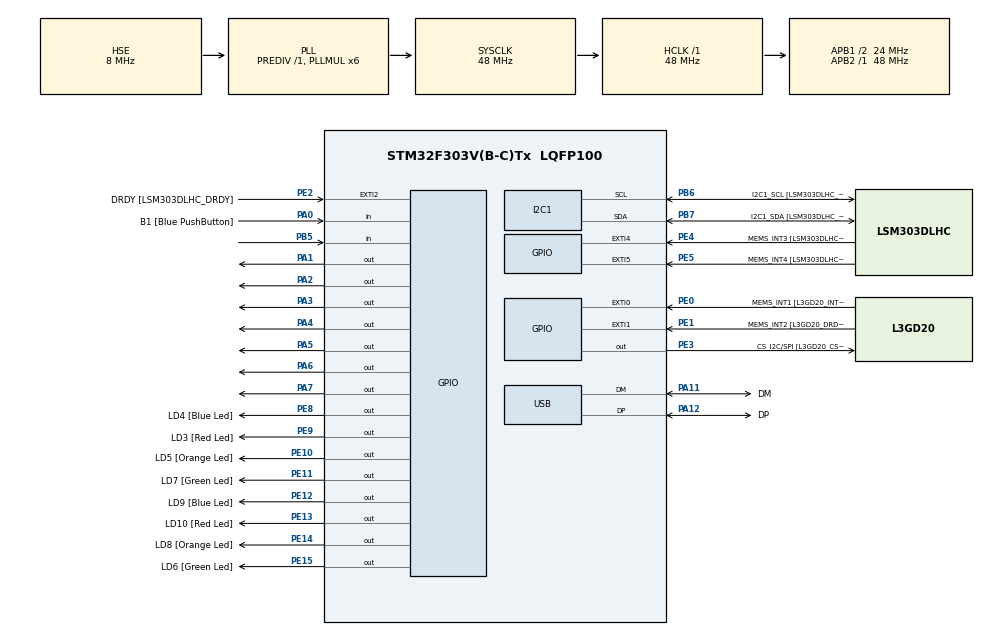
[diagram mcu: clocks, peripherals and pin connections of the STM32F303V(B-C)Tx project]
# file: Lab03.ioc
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I2C1.Timing=0x00201D2B
I2C1.Timing-I2C=0x2000090E
Mcu.Family=STM32F3
Mcu.Name=STM32F303V(B-C)Tx
Mcu.Package=LQFP100
NVIC.PriorityGroup=NVIC_PRIORITYGROUP_0
PA0.GPIO_Label=B1 [Blue PushButton]
PA0.Signal=GPIO_Input
PA1.Signal=GPIO_Output
PA11.GPIO_Label=DM
PA11.Mode=Device
PA11.Signal=USB_DM
PA12.GPIO_Label=DP
PA12.Mode=Device
PA12.Signal=USB_DP
PA13.GPIO_Label=SWDIO
PA13.Mode=Serial_Wire
PA13.Signal=SYS_JTMS-SWDIO
PA14.GPIO_Label=SWCLK
PA14.Mode=Serial_Wire
PA14.Signal=SYS_JTCK-SWCLK
PA2.Signal=GPIO_Output
PA3.Signal=GPIO_Output
PA4.Signal=GPIO_Output
PA5.Signal=GPIO_Output
PA6.Signal=GPIO_Output
PA7.Signal=GPIO_Output
PB3.GPIO_Label=SWO
PB3.Signal=SYS_JTDO-TRACESWO
PB5.Signal=GPIO_Input
PB6.GPIO_Label=I2C1_SCL [LSM303DLHC_SCL]
PB6.GPIO_Pu=GPIO_PULLUP
PB6.Mode=I2C
PB6.Signal=I2C1_SCL
PB7.GPIO_Label=I2C1_SDA [LSM303DLHC_SDA]
PB7.GPIO_Pu=GPIO_PULLUP
PB7.Mode=I2C
PB7.Signal=I2C1_SDA
PC14-OSC32_IN.GPIO_Label=OSC32_IN
PC14-OSC32_IN.Signal=RCC_OSC32_IN
PC15-OSC32_OUT.GPIO_Label=OSC32_OUT
PC15-OSC32_OUT.Signal=RCC_OSC32_OUT
PE0.GPIO_Label=MEMS_INT1 [L3GD20_INT1]
PE0.GPIO_ModeDefaultEXTI=GPIO_MODE_EVT_RISING
PE0.Signal=GPXTI0
PE1.GPIO_Label=MEMS_INT2 [L3GD20_DRDY/INT2]
PE1.GPIO_ModeDefaultEXTI=GPIO_MODE_EVT_RISING
PE1.Signal=GPXTI1
PE10.GPIO_Label=LD5 [Orange Led]
PE10.Signal=GPIO_Output
PE11.GPIO_Label=LD7 [Green Led]
PE11.Signal=GPIO_Output
PE12.GPIO_Label=LD9 [Blue Led]
PE12.Signal=GPIO_Output
PE13.GPIO_Label=LD10 [Red Led]
PE13.Signal=GPIO_Output
PE14.GPIO_Label=LD8 [Orange Led]
PE14.Signal=GPIO_Output
PE15.GPIO_Label=LD6 [Green Led]
PE15.Signal=GPIO_Output
PE2.GPIO_Label=DRDY [LSM303DLHC_DRDY]
PE2.GPIO_ModeDefaultEXTI=GPIO_MODE_EVT_RISING
PE2.Signal=GPXTI2
PE3.GPIO_Label=CS_I2C/SPI [L3GD20_CS_I2C/SPI]
PE3.Signal=GPIO_Output
PE4.GPIO_Label=MEMS_INT3 [LSM303DLHC_INT1]
PE4.GPIO_ModeDefaultEXTI=GPIO_MODE_EVT_RISING
PE4.Signal=GPXTI4
PE5.GPIO_Label=MEMS_INT4 [LSM303DLHC_INT2]
PE5.GPIO_ModeDefaultEXTI=GPIO_MODE_EVT_RISING
PE5.Signal=GPXTI5
PE8.GPIO_Label=LD4 [Blue Led]
PE8.Signal=GPIO_Output
PE9.GPIO_Label=LD3 [Red Led]
PE9.Signal=GPIO_Output
PF0-OSC_IN.GPIO_Label=OSC_IN
PF0-OSC_IN.Mode=HSE-External-Clock-Source
PF0-OSC_IN.Signal=RCC_OSC_IN
PF1-OSC_OUT.GPIO_Label=OSC_OUT
PF1-OSC_OUT.Signal=RCC_OSC_OUT
ProjectManager.HeapSize=0x200
ProjectManager.StackSize=0x400
ProjectManager.TargetToolchain=CMake
RCC.AHBFreq_Value=48000000
RCC.APB1CLKDivider=RCC_HCLK_DIV2
RCC.APB1Freq_Value=24000000
RCC.APB1TimFreq_Value=48000000
RCC.APB2Freq_Value=48000000
RCC.APB2TimFreq_Value=48000000
RCC.CortexFreq_Value=48000000
RCC.HCLKFreq_Value=48000000
RCC.HSE_VALUE=8000000
RCC.HSI_VALUE=8000000
RCC.LSE_VALUE=32768
RCC.PLLMUL=RCC_PLL_MUL6
RCC.SYSCLKFreq_VALUE=48000000
RCC.SYSCLKSourceVirtual=RCC_SYSCLKSOURCE_PLLCLK
RCC.USBFreq_Value=48000000
board=STM32F3DISCOVERY

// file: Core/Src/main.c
/* USER CODE BEGIN Header */
/**
  ******************************************************************************
  * @file           : main.c
  * @brief          : Main program body
  ******************************************************************************
  * @attention
  *
  * Copyright (c) 2026 STMicroelectronics.
  * All rights reserved.
  *
  * This software is licensed under terms that can be found in the LICENSE file
  * in the root directory of this software component.
  * If no LICENSE file comes with this software, it is provided AS-IS.
  *
  ******************************************************************************
  */
/* USER CODE END Header */
#include "main.h"

/* USER CODE BEGIN Includes */
//task4
#include <stdlib.h>
/* USER CODE END Includes */

I2C_HandleTypeDef hi2c1;

PCD_HandleTypeDef hpcd_USB_FS;

/* USER CODE BEGIN PV */
//task4
// GPIO_PinState prev_pa0 = GPIO_PIN_RESET;
// uint8_t value = 0;
/* USER CODE END PV */

void SystemClock_Config(void);
static void MX_GPIO_Init(void);
static void MX_I2C1_Init(void);
static void MX_USB_PCD_Init(void);

/* USER CODE BEGIN 0 */
void display_number(uint8_t num) {
      // 1 means segment is ON (requires 0V/GND), 0 means segment is OFF (requires VCC)
      uint8_t segment[16][7] = {
          {1, 1, 1, 1, 1, 1, 0}, // 0
          {0, 1, 1, 0, 0, 0, 0}, // 1
          {1, 1, 0, 1, 1, 0, 1}, // 2
          {1, 1, 1, 1, 0, 0, 1}, // 3
          {0, 1, 1, 0, 0, 1, 1}, // 4
          {1, 0, 1, 1, 0, 1, 1}, // 5
          {1, 0, 1, 1, 1, 1, 1}, // 6
          {1, 1, 1, 0, 0, 0, 0}, // 7
          {1, 1, 1, 1, 1, 1, 1}, // 8
          {1, 1, 1, 1, 0, 1, 1}, // 9
          {1, 1, 1, 0, 1, 1, 1}, // A
          {0, 0, 1, 1, 1, 1, 1}, // b
          {1, 0, 0, 1, 1, 1, 0}, // C
          {0, 1, 1, 1, 1, 0, 1}, // d
          {1, 0, 0, 1, 1, 1, 1}, // E
          {1, 0, 0, 0, 1, 1, 1}  // F
      };

    // Common Anode Logic: Set to RESET to turn ON, SET to turn OFF
    HAL_GPIO_WritePin(GPIOA, GPIO_PIN_1, segment[num][0] ? GPIO_PIN_RESET : GPIO_PIN_SET);
    HAL_GPIO_WritePin(GPIOA, GPIO_PIN_2, segment[num][1] ? GPIO_PIN_RESET : GPIO_PIN_SET);
    HAL_GPIO_WritePin(GPIOA, GPIO_PIN_3, segment[num][2] ? GPIO_PIN_RESET : GPIO_PIN_SET);
    HAL_GPIO_WritePin(GPIOA, GPIO_PIN_4, segment[num][3] ? GPIO_PIN_RESET : GPIO_PIN_SET);
    HAL_GPIO_WritePin(GPIOA, GPIO_PIN_5, segment[num][4] ? GPIO_PIN_RESET : GPIO_PIN_SET);
    HAL_GPIO_WritePin(GPIOA, GPIO_PIN_6, segment[num][5] ? GPIO_PIN_RESET : GPIO_PIN_SET);
    HAL_GPIO_WritePin(GPIOA, GPIO_PIN_7, segment[num][6] ? GPIO_PIN_RESET : GPIO_PIN_SET);
}

/* USER CODE END 0 */

int main(void)
{

  /* USER CODE BEGIN 1 */

  //task3
  // GPIO_PinState prev_pa0 = GPIO_PIN_RESET;
  // GPIO_PinState prev_pb5 = GPIO_PIN_RESET;
  // uint8_t count = 0;

  // GPIO_PinState prev = GPIO_PIN_RESET;
  // uint8_t index = 0;

  // uint8_t id[] = {0,9,7,1,8};
  // uint8_t len = sizeof(id) / sizeof(id[0]);
  /* USER CODE END 1 */

  /* MCU Configuration--------------------------------------------------------*/

  /* Reset of all peripherals, Initializes the Flash interface and the Systick. */
  HAL_Init();

  /* Configure the system clock */
  SystemClock_Config();

  /* Initialize all configured peripherals */
  MX_GPIO_Init();
  MX_I2C1_Init();
  MX_USB_PCD_Init();
 /* USER CODE BEGIN 2 */
//task4
  // GPIO_InitTypeDef GPIO_InitStruct = {0};

  // GPIO_InitStruct.Pin = GPIO_PIN_0;
  // GPIO_InitStruct.Mode = GPIO_MODE_INPUT;
  // GPIO_InitStruct.Pull = GPIO_PULLDOWN;
  // HAL_GPIO_Init(GPIOA, &GPIO_InitStruct);

 //task3
  // Reconfigure PB4 with an internal PULL-DOWN resistor
  // GPIO_InitTypeDef GPIO_InitStruct = {0};
  // GPIO_InitStruct.Pin = GPIO_PIN_5;
  // GPIO_InitStruct.Mode = GPIO_MODE_INPUT;
  // GPIO_InitStruct.Pull = GPIO_PULLDOWN; //Change GPIO_NOPULL to GPIO_PULLDOWN
  // HAL_GPIO_Init(GPIOB, &GPIO_InitStruct);

  // // Reconfigure PA0 with an internal PULL-DOWN resistor
  // GPIO_InitStruct.Pin = GPIO_PIN_0;
  // GPIO_InitStruct.Mode = GPIO_MODE_INPUT;
  // GPIO_InitStruct.Pull = GPIO_PULLDOWN; // <--- Change GPIO_NOPULL to GPIO_PULLDOWN
  // HAL_GPIO_Init(GPIOA, &GPIO_InitStruct);

  // display_number(count);
  /* USER CODE END 2 */

  /* Infinite loop */
  while (1)
  {

    /* USER CODE BEGIN 3 */
    // task 1
    //   for (uint8_t i = 0; i < 16; i++) {
    //     display_number(i);
    //     HAL_Delay(2000);
    //

    //  task 2

    // GPIO_PinState current = HAL_GPIO_ReadPin(GPIOA, GPIO_PIN_0);

    // if (current == GPIO_PIN_SET && prev == GPIO_PIN_SET) {
    //     HAL_Delay(40);

    //     if (HAL_GPIO_ReadPin(GPIOA, GPIO_PIN_0) == GPIO_PIN_RESET) {
    //         index++;
    //         if (index >= len) {
    //             index = 0;
    //         }
    //         display_number(id[index]);

    //         while (HAL_GPIO_ReadPin(GPIOA, GPIO_PIN_0) == GPIO_PIN_RESET) {

    //         }
    //         HAL_Delay(40);
    // }
    // prev = current;

    // task 3
  // GPIO_PinState now_pa0 = HAL_GPIO_ReadPin(GPIOA, GPIO_PIN_0); // PA0 Button (+1)
  // GPIO_PinState now_pb5 = HAL_GPIO_ReadPin(GPIOB, GPIO_PIN_5); // PB5 Button (-1)

  // // PA0 Pressed: Increment Counter
  // if (now_pa0 == GPIO_PIN_SET && prev_pa0 == GPIO_PIN_RESET)
  // {
  //     HAL_Delay(40); // Debounce delay

  //     if (HAL_GPIO_ReadPin(GPIOA, GPIO_PIN_0) == GPIO_PIN_SET)
  //     {
  //         count = (count + 1) % 16;
  //         display_number(count);

  //         // Wait until PA0 button is released
  //         while (HAL_GPIO_ReadPin(GPIOA, GPIO_PIN_0) == GPIO_PIN_SET);
  //         HAL_Delay(40);
  //     }
  // }

  // //PB4 Pressed: Decrement Counter
  // if (now_pb5 == GPIO_PIN_SET && prev_pb5 == GPIO_PIN_RESET)
  // {
  //     HAL_Delay(40); // Debounce delay

  //     if (HAL_GPIO_ReadPin(GPIOB, GPIO_PIN_5) == GPIO_PIN_SET)
  //     {
  //         count = (count == 0) ? 15 : (count - 1);
  //         display_number(count);

  //         // Wait until PB4 button is released
  //         while (HAL_GPIO_ReadPin(GPIOB, GPIO_PIN_5) == GPIO_PIN_SET)
  //         {
  //             HAL_Delay(40);
  //         }
  //     }
  // }

  // // Update previous pin states
  // prev_pa0 = now_pa0;
  // prev_pb5 = now_pb5;

  //task 4
  // GPIO_PinState now_pa0 = HAL_GPIO_ReadPin(GPIOA, GPIO_PIN_0); // PA0 Button (USER Button)

  // // Detect rising edge (button press)
  // if (now_pa0 == GPIO_PIN_SET && prev_pa0 == GPIO_PIN_RESET)
  // {
  //     HAL_Delay(50); // Debounce delay

  //     if (HAL_GPIO_ReadPin(GPIOA, GPIO_PIN_0) == GPIO_PIN_SET)
  //     {
  //         // Generate random number between 1 and 6
  //         value = (rand() % 6) + 1;

  //         // Display on 7-segment display
  //         display_number(value);

  //         // Wait until button is released
  //         while (HAL_GPIO_ReadPin(GPIOA, GPIO_PIN_0) == GPIO_PIN_SET)
  //         {
  //             HAL_Delay(10);
  //         }
  //         HAL_Delay(40); // Debounce release
  //     }
  // }

  // prev_pa0 = now_pa0;
  /* USER CODE END 3 */
  }

  /* USER CODE END 3 */
}

void SystemClock_Config(void)
{
  RCC_OscInitTypeDef RCC_OscInitStruct = {0};
  RCC_ClkInitTypeDef RCC_ClkInitStruct = {0};
  RCC_PeriphCLKInitTypeDef PeriphClkInit = {0};

  /** Initializes the RCC Oscillators according to the specified parameters
  * in the RCC_OscInitTypeDef structure.
  */
  RCC_OscInitStruct.OscillatorType = RCC_OSCILLATORTYPE_HSI|RCC_OSCILLATORTYPE_HSE;
  RCC_OscInitStruct.HSEState = RCC_HSE_BYPASS;
  RCC_OscInitStruct.HSEPredivValue = RCC_HSE_PREDIV_DIV1;
  RCC_OscInitStruct.HSIState = RCC_HSI_ON;
  RCC_OscInitStruct.HSICalibrationValue = RCC_HSICALIBRATION_DEFAULT;
  RCC_OscInitStruct.PLL.PLLState = RCC_PLL_ON;
  RCC_OscInitStruct.PLL.PLLSource = RCC_PLLSOURCE_HSE;
  RCC_OscInitStruct.PLL.PLLMUL = RCC_PLL_MUL6;
  if (HAL_RCC_OscConfig(&RCC_OscInitStruct) != HAL_OK)
  {
    Error_Handler();
  }

  /** Initializes the CPU, AHB and APB buses clocks
  */
  RCC_ClkInitStruct.ClockType = RCC_CLOCKTYPE_HCLK|RCC_CLOCKTYPE_SYSCLK
                              |RCC_CLOCKTYPE_PCLK1|RCC_CLOCKTYPE_PCLK2;
  RCC_ClkInitStruct.SYSCLKSource = RCC_SYSCLKSOURCE_PLLCLK;
  RCC_ClkInitStruct.AHBCLKDivider = RCC_SYSCLK_DIV1;
  RCC_ClkInitStruct.APB1CLKDivider = RCC_HCLK_DIV2;
  RCC_ClkInitStruct.APB2CLKDivider = RCC_HCLK_DIV1;

  if (HAL_RCC_ClockConfig(&RCC_ClkInitStruct, FLASH_LATENCY_1) != HAL_OK)
  {
    Error_Handler();
  }
  PeriphClkInit.PeriphClockSelection = RCC_PERIPHCLK_USB|RCC_PERIPHCLK_I2C1;
  PeriphClkInit.I2c1ClockSelection = RCC_I2C1CLKSOURCE_HSI;
  PeriphClkInit.USBClockSelection = RCC_USBCLKSOURCE_PLL;
  if (HAL_RCCEx_PeriphCLKConfig(&PeriphClkInit) != HAL_OK)
  {
    Error_Handler();
  }
}

static void MX_I2C1_Init(void)
{

  hi2c1.Instance = I2C1;
  hi2c1.Init.Timing = 0x00201D2B;
  hi2c1.Init.OwnAddress1 = 0;
  hi2c1.Init.AddressingMode = I2C_ADDRESSINGMODE_7BIT;
  hi2c1.Init.DualAddressMode = I2C_DUALADDRESS_DISABLE;
  hi2c1.Init.OwnAddress2 = 0;
  hi2c1.Init.OwnAddress2Masks = I2C_OA2_NOMASK;
  hi2c1.Init.GeneralCallMode = I2C_GENERALCALL_DISABLE;
  hi2c1.Init.NoStretchMode = I2C_NOSTRETCH_DISABLE;
  if (HAL_I2C_Init(&hi2c1) != HAL_OK)
  {
    Error_Handler();
  }

  /** Configure Analogue filter
  */
  if (HAL_I2CEx_ConfigAnalogFilter(&hi2c1, I2C_ANALOGFILTER_ENABLE) != HAL_OK)
  {
    Error_Handler();
  }

  /** Configure Digital filter
  */
  if (HAL_I2CEx_ConfigDigitalFilter(&hi2c1, 0) != HAL_OK)
  {
    Error_Handler();
  }

}

static void MX_USB_PCD_Init(void)
{

  hpcd_USB_FS.Instance = USB;
  hpcd_USB_FS.Init.dev_endpoints = 8;
  hpcd_USB_FS.Init.speed = PCD_SPEED_FULL;
  hpcd_USB_FS.Init.phy_itface = PCD_PHY_EMBEDDED;
  hpcd_USB_FS.Init.low_power_enable = DISABLE;
  hpcd_USB_FS.Init.battery_charging_enable = DISABLE;
  if (HAL_PCD_Init(&hpcd_USB_FS) != HAL_OK)
  {
    Error_Handler();
  }

}

static void MX_GPIO_Init(void)
{
  GPIO_InitTypeDef GPIO_InitStruct = {0};

  /* GPIO Ports Clock Enable */
  __HAL_RCC_GPIOE_CLK_ENABLE();
  __HAL_RCC_GPIOC_CLK_ENABLE();
  __HAL_RCC_GPIOF_CLK_ENABLE();
  __HAL_RCC_GPIOA_CLK_ENABLE();
  __HAL_RCC_GPIOB_CLK_ENABLE();

  /*Configure GPIO pin Output Level */
  HAL_GPIO_WritePin(GPIOE, CS_I2C_SPI_Pin|LD4_Pin|LD3_Pin|LD5_Pin
                          |LD7_Pin|LD9_Pin|LD10_Pin|LD8_Pin
                          |LD6_Pin, GPIO_PIN_RESET);

  /*Configure GPIO pin Output Level */
  HAL_GPIO_WritePin(GPIOA, GPIO_PIN_1|GPIO_PIN_2|GPIO_PIN_3|GPIO_PIN_4
                          |GPIO_PIN_5|GPIO_PIN_6|GPIO_PIN_7, GPIO_PIN_RESET);

  /*Configure GPIO pins : DRDY_Pin MEMS_INT3_Pin MEMS_INT4_Pin MEMS_INT1_Pin
                           MEMS_INT2_Pin */
  GPIO_InitStruct.Pin = DRDY_Pin|MEMS_INT3_Pin|MEMS_INT4_Pin|MEMS_INT1_Pin
                          |MEMS_INT2_Pin;
  GPIO_InitStruct.Mode = GPIO_MODE_EVT_RISING;
  GPIO_InitStruct.Pull = GPIO_NOPULL;
  HAL_GPIO_Init(GPIOE, &GPIO_InitStruct);

  /*Configure GPIO pins : CS_I2C_SPI_Pin LD4_Pin LD3_Pin LD5_Pin
                           LD7_Pin LD9_Pin LD10_Pin LD8_Pin
                           LD6_Pin */
  GPIO_InitStruct.Pin = CS_I2C_SPI_Pin|LD4_Pin|LD3_Pin|LD5_Pin
                          |LD7_Pin|LD9_Pin|LD10_Pin|LD8_Pin
                          |LD6_Pin;
  GPIO_InitStruct.Mode = GPIO_MODE_OUTPUT_PP;
  GPIO_InitStruct.Pull = GPIO_NOPULL;
  GPIO_InitStruct.Speed = GPIO_SPEED_FREQ_LOW;
  HAL_GPIO_Init(GPIOE, &GPIO_InitStruct);

  /*Configure GPIO pin : B1_Pin */
  GPIO_InitStruct.Pin = B1_Pin;
  GPIO_InitStruct.Mode = GPIO_MODE_INPUT;
  GPIO_InitStruct.Pull = GPIO_NOPULL;
  HAL_GPIO_Init(B1_GPIO_Port, &GPIO_InitStruct);

  /*Configure GPIO pins : PA1 PA2 PA3 PA4
                           PA5 PA6 PA7 */
  GPIO_InitStruct.Pin = GPIO_PIN_1|GPIO_PIN_2|GPIO_PIN_3|GPIO_PIN_4
                          |GPIO_PIN_5|GPIO_PIN_6|GPIO_PIN_7;
  GPIO_InitStruct.Mode = GPIO_MODE_OUTPUT_PP;
  GPIO_InitStruct.Pull = GPIO_NOPULL;
  GPIO_InitStruct.Speed = GPIO_SPEED_FREQ_LOW;
  HAL_GPIO_Init(GPIOA, &GPIO_InitStruct);

  /*Configure GPIO pin : PB5 */
  GPIO_InitStruct.Pin = GPIO_PIN_5;
  GPIO_InitStruct.Mode = GPIO_MODE_INPUT;
  GPIO_InitStruct.Pull = GPIO_NOPULL;
  HAL_GPIO_Init(GPIOB, &GPIO_InitStruct);

}

void Error_Handler(void)
{
  __disable_irq();
  while (1)
  {
  }
}
